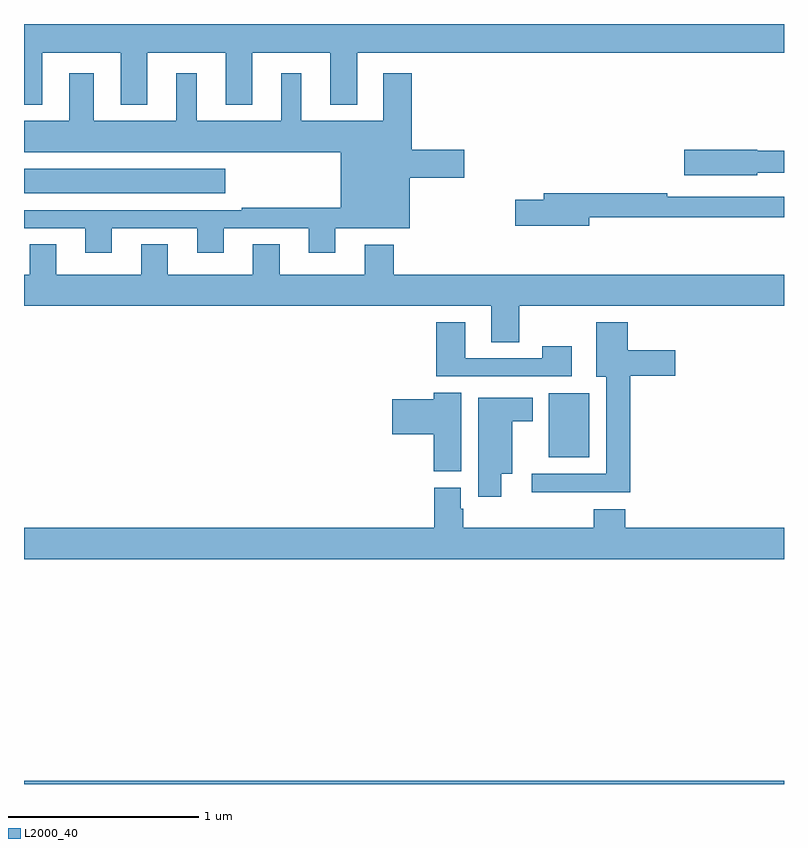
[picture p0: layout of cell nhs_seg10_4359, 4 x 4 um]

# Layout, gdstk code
import gdstk
lib = gdstk.Library(unit=1e-6, precision=1e-09)
def R(c, l, rs):  # rectangles x0, y0, x1, y1
    for r in rs: c.add(gdstk.rectangle(r[:2], r[2:], *l))
def P(c, l, *ps):  # polygons
    for p in ps: c.add(gdstk.Polygon(p, *l))
L2000_40 = (2000, 40)

nhs_seg10_4359 = lib.new_cell('nhs_seg10_4359')
R(nhs_seg10_4359, L2000_40, [(357,1264.5,361,1264.516), (359.762,1266.221,359.974,1266.556), (357,1267.61,358.06,1267.738)])
P(nhs_seg10_4359, L2000_40, [(357,1268.075),(357.097,1268.075),(357.097,1268.348),(357.509,1268.348),(357.509,1268.075),(357.649,1268.075),(357.649,1268.348),(358.061,1268.348),(358.061,1268.075),(358.201,1268.075),(358.201,1268.348),(358.613,1268.348),(358.613,1268.075),(358.753,1268.075),(358.753,1268.348),(361,1268.348),(361,1268.5),(357,1268.5)],
  [(357.463,1267.425),(357.911,1267.425),(357.911,1267.296),(358.051,1267.296),(358.051,1267.425),(358.499,1267.425),(358.499,1267.296),(358.639,1267.296),(358.639,1267.424),(359.029,1267.424),(359.029,1267.691),(359.317,1267.691),(359.317,1267.838),(359.042,1267.838),(359.042,1268.242),(358.892,1268.242),(358.892,1267.99),(358.459,1267.99),(358.459,1268.242),(358.355,1268.242),(358.355,1267.99),(357.91,1267.99),(357.91,1268.242),(357.8,1268.242),(357.8,1267.99),(357.367,1267.99),(357.367,1268.242),(357.239,1268.242),(357.239,1267.99),(357,1267.99),(357,1267.826),(358.667,1267.826),(358.667,1267.534),(358.147,1267.534),(358.147,1267.521),(357,1267.521),(357,1267.425),(357.323,1267.425),(357.323,1267.296),(357.463,1267.296)],
  [(360.858,1267.716),(361,1267.716),(361,1267.832),(360.858,1267.832),(360.858,1267.838),(360.474,1267.838),(360.474,1267.703),(360.858,1267.703)],
  [(359.974,1267.482),(361,1267.482),(361,1267.59),(360.386,1267.59),(360.386,1267.61),(359.735,1267.61),(359.735,1267.574),(359.586,1267.574),(359.586,1267.439),(359.974,1267.439)],
  [(359.607,1267.016),(361,1267.016),(361,1267.18),(358.946,1267.18),(358.946,1267.339),(358.793,1267.339),(358.793,1267.18),(358.345,1267.18),(358.345,1267.34),(358.205,1267.34),(358.205,1267.18),(357.757,1267.18),(357.757,1267.34),(357.617,1267.34),(357.617,1267.18),(357.169,1267.18),(357.169,1267.34),(357.029,1267.34),(357.029,1267.18),(357,1267.18),(357,1267.016),(359.459,1267.016),(359.459,1266.826),(359.607,1266.826)],
  [(359.884,1266.805),(359.728,1266.805),(359.728,1266.741),(359.323,1266.741),(359.323,1266.931),(359.171,1266.931),(359.171,1266.645),(359.884,1266.645)],
  [(360.191,1266.65),(360.427,1266.65),(360.427,1266.784),(360.178,1266.784),(360.178,1266.931),(360.011,1266.931),(360.011,1266.644),(360.065,1266.644),(360.065,1266.132),(359.673,1266.132),(359.673,1266.035),(360.191,1266.035)],
  [(359.302,1266.56),(359.156,1266.56),(359.156,1266.524),(358.938,1266.524),(358.938,1266.341),(359.156,1266.341),(359.156,1266.145),(359.302,1266.145)],
  [(359.512,1266.134),(359.569,1266.134),(359.569,1266.41),(359.677,1266.41),(359.677,1266.532),(359.39,1266.532),(359.39,1266.012),(359.512,1266.012)],
  [(361,1265.848),(360.164,1265.848),(360.164,1265.947),(359.999,1265.947),(359.999,1265.848),(359.312,1265.848),(359.312,1265.949),(359.299,1265.949),(359.299,1266.06),(359.159,1266.06),(359.159,1265.848),(357,1265.848),(357,1265.684),(361,1265.684)])

lib.write_gds('nhs_seg10_4359.gds')
